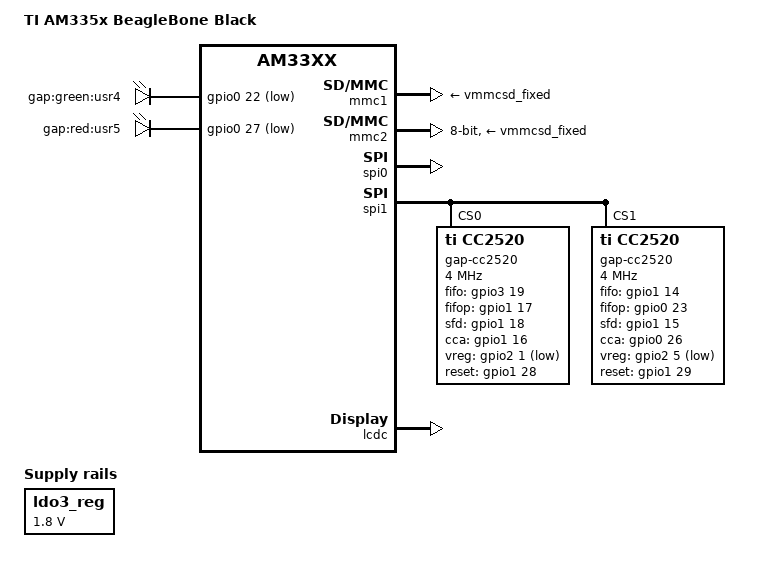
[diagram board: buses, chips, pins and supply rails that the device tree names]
/*
 * Copyright (C) 2012 Texas Instruments Incorporated - http://www.ti.com/
 *
 * This program is free software; you can redistribute it and/or modify
 * it under the terms of the GNU General Public License version 2 as
 * published by the Free Software Foundation.
 */
/dts-v1/;

#include "am33xx.dtsi"
#include "am335x-bone-common.dtsi"

/ {
	model = "TI AM335x BeagleBone Black";
	compatible = "ti,am335x-bone-black", "ti,am335x-bone", "ti,am33xx";
};

/* Max Core Speed */
#include "am335x-boneblack-1ghz.dtsi"
/* #include "am335x-boneblack-800mhz.dtsi" */

&ldo3_reg {
	regulator-min-microvolt = <1800000>;
	regulator-max-microvolt = <1800000>;
	regulator-always-on;
};

&mmc1 {
	vmmc-supply = <&vmmcsd_fixed>;
};

&mmc2 {
	vmmc-supply = <&vmmcsd_fixed>;
	pinctrl-names = "default";
	pinctrl-0 = <&emmc_pins>;
	bus-width = <8>;
	status = "okay";
};

&spi0 {
	status = "okay";

	pinctrl-names = "default";
	pinctrl-0 = <&gap_spi0_pins>;
};

&spi1 {
	status = "okay";

	pinctrl-names = "default";
	pinctrl-0 = <&gap_spi1_pins>;

	gap-cc2520@0 {
		compatible = "ti,cc2520";

		reg = <0>;
		spi-max-frequency = <4000000>;
		pinctrl-names = "default";
		pinctrl-0 = <&gap_cc2520_0_pins>;
		fifo-gpio  = <&gpio3 19 0>;
		fifop-gpio = <&gpio1 17 0>;
		sfd-gpio   = <&gpio1 18 0>;
		cca-gpio   = <&gpio1 16 0>;
		vreg-gpio  = <&gpio2 1  1>;
		reset-gpio = <&gpio1 28 0>;
	};

	gap-cc2520@1 {
		compatible = "ti,cc2520";

		reg = <1>;
		spi-max-frequency = <4000000>;
		amplified;
		pinctrl-names = "default";
		pinctrl-0 = <&gap_cc2520_1_pins>;
		fifo-gpio  = <&gpio1 14 0>;
		fifop-gpio = <&gpio0 23 0>;
		sfd-gpio   = <&gpio1 15 0>;
		cca-gpio   = <&gpio0 26 0>;
		vreg-gpio  = <&gpio2 5  1>;
		reset-gpio = <&gpio1 29 0>;
	};
};

&leds {
	pinctrl-1 = <&gap_leds_pins>;

	led@6 {
		label = "gap:green:usr4";
		gpios = <&gpio0 22 1>;
		linux,default-trigger = "none";
		default-state = "off";
	};
	led@7 {
		label = "gap:red:usr5";
		gpios = <&gpio0 27 1>;
		linux,default-trigger = "none";
		default-state = "off";
	};

};

&am33xx_pinmux {
	nxp_hdmi_bonelt_pins: nxp_hdmi_bonelt_pins {
		pinctrl-single,pins = <
			0x1b0 0x03      /* xdma_event_intr0, OMAP_MUX_MODE3 | AM33XX_PIN_OUTPUT */
			0xa0 0x08       /* lcd_data0.lcd_data0, OMAP_MUX_MODE0 | AM33XX_PIN_OUTPUT | AM33XX_PULL_DISA */
			0xa4 0x08       /* lcd_data1.lcd_data1, OMAP_MUX_MODE0 | AM33XX_PIN_OUTPUT | AM33XX_PULL_DISA */
			0xa8 0x08       /* lcd_data2.lcd_data2, OMAP_MUX_MODE0 | AM33XX_PIN_OUTPUT | AM33XX_PULL_DISA */
			0xac 0x08       /* lcd_data3.lcd_data3, OMAP_MUX_MODE0 | AM33XX_PIN_OUTPUT | AM33XX_PULL_DISA */
			0xb0 0x08       /* lcd_data4.lcd_data4, OMAP_MUX_MODE0 | AM33XX_PIN_OUTPUT | AM33XX_PULL_DISA */
			0xb4 0x08       /* lcd_data5.lcd_data5, OMAP_MUX_MODE0 | AM33XX_PIN_OUTPUT | AM33XX_PULL_DISA */
			0xb8 0x08       /* lcd_data6.lcd_data6, OMAP_MUX_MODE0 | AM33XX_PIN_OUTPUT | AM33XX_PULL_DISA */
			0xbc 0x08       /* lcd_data7.lcd_data7, OMAP_MUX_MODE0 | AM33XX_PIN_OUTPUT | AM33XX_PULL_DISA */
			0xc0 0x08       /* lcd_data8.lcd_data8, OMAP_MUX_MODE0 | AM33XX_PIN_OUTPUT | AM33XX_PULL_DISA */
			0xc4 0x08       /* lcd_data9.lcd_data9, OMAP_MUX_MODE0 | AM33XX_PIN_OUTPUT | AM33XX_PULL_DISA */
			0xc8 0x08       /* lcd_data10.lcd_data10, OMAP_MUX_MODE0 | AM33XX_PIN_OUTPUT | AM33XX_PULL_DISA */
			0xcc 0x08       /* lcd_data11.lcd_data11, OMAP_MUX_MODE0 | AM33XX_PIN_OUTPUT | AM33XX_PULL_DISA */
			0xd0 0x08       /* lcd_data12.lcd_data12, OMAP_MUX_MODE0 | AM33XX_PIN_OUTPUT | AM33XX_PULL_DISA */
			0xd4 0x08       /* lcd_data13.lcd_data13, OMAP_MUX_MODE0 | AM33XX_PIN_OUTPUT | AM33XX_PULL_DISA */
			0xd8 0x08       /* lcd_data14.lcd_data14, OMAP_MUX_MODE0 | AM33XX_PIN_OUTPUT | AM33XX_PULL_DISA */
			0xdc 0x08       /* lcd_data15.lcd_data15, OMAP_MUX_MODE0 | AM33XX_PIN_OUTPUT | AM33XX_PULL_DISA */
			0xe0 0x00       /* lcd_vsync.lcd_vsync, OMAP_MUX_MODE0 | AM33XX_PIN_OUTPUT */
			0xe4 0x00       /* lcd_hsync.lcd_hsync, OMAP_MUX_MODE0 | AM33XX_PIN_OUTPUT */
			0xe8 0x00       /* lcd_pclk.lcd_pclk, OMAP_MUX_MODE0 | AM33XX_PIN_OUTPUT */
			0xec 0x00       /* lcd_ac_bias_en.lcd_ac_bias_en, OMAP_MUX_MODE0 | AM33XX_PIN_OUTPUT */
		>;
	};
	nxp_hdmi_bonelt_off_pins: nxp_hdmi_bonelt_off_pins {
		pinctrl-single,pins = <
			0x1b0 0x03      /* xdma_event_intr0, OMAP_MUX_MODE3 | AM33XX_PIN_OUTPUT */
		>;
	};

	gap_cc2520_0_pins: gap_cc2520_0_pins {
		pinctrl-single,pins = <
			0x048 0x2F /* ehrpwm1a.gpio1_18, INPUT         | MODE7 */
			0x044 0x2F /* gpio1_17.gpio1_17, INPUT         | MODE7 */
			0x1a4 0x2F /* gpio3_19.gpio3_19, INPUT         | MODE7 */
			0x078 0x17 /* gpio1_28.gpio1_28, OUTPUT_PULLUP | MODE7 */
			0x040 0x2F /* gpio1_16.gpio1_16, INPUT         | MODE7 */
			0x08c 0x17 /* gpio2_1.gpio2_1,   OUTPUT_PULLUP | MODE7 */
		>;
	};

	gap_cc2520_1_pins: gap_cc2520_1_pins {
		pinctrl-single,pins = <
			0x03c 0x2F /* P8.15 gpio1_15.gpio1_15, INPUT         | MODE7 */
			0x024 0x2F /* P8.13 ehrpwm2b.gpio0_23, INPUT         | MODE7 */
			0x038 0x2F /* P8.16 gpio1_14.gpio1_14, INPUT         | MODE7 */
			0x07c 0x17 /* P8.26 gpio1_29.gpio1_29, OUTPUT_PULLUP | MODE7 */
			0x028 0x2F /* P8.14 gpio0_26.gpio0_26, INPUT         | MODE7 */
			0x09c 0x17 /* P8.09 gpio2_5.gpio2_5,   OUTPUT_PULLUP | MODE7 */
		>;
	};

	gap_leds_pins: gap_leds_pins {
		pinctrl-single,pins = <
			0x020 0x17  /* ehrpwm2a.gpio0_22, OUTPUT_PULLUP | MODE7 */
			0x02c 0x17  /* gpio0_27.gpio0_27, OUTPUT_PULLUP | MODE7 */
		>;
	};

	gap_spi0_pins: gap_spi0_pins {
		pinctrl-single,pins = <
			0x15c 0x10 /* i2c1_scl.spi0_cs0,   OUTPUT_PULLUP | MODE0 */
			0x158 0x10 /* i2c1_sda.spi0_d1,    OUTPUT_PULLUP | MODE0 */
			0x154 0x30 /* uart2_txd.spi0_d0,   INPUT_PULLUP  | MODE0 */
			0x150 0x30 /* uart2_rxd.spi0_sclk, INPUT_PULLUP  | MODE0 */
		>;
	};

	gap_spi1_pins: gap_spi1_pins {
		pinctrl-single,pins = <
			0x190 0x33      /* mcasp0_aclkx.spi1_sclk,     INPUT_PULLUP  | MODE3 */
			0x194 0x33      /* mcasp0_fsx.spi1_d0,         INPUT_PULLUP  | MODE3 */
			0x198 0x13      /* mcasp0_axr0.spi1_d1,        OUTPUT_PULLUP | MODE3 */
			0x19c 0x13      /* mcasp0_ahclkr.spi1_cs0,     OUTPUT_PULLUP | MODE3 */
			0x164 0x12      /* ecap0_in_pwm0_out.spi1_cs1, OUTPUT_PULLUP | MODE2 */
		>;
	};
};

&lcdc {
	status = "okay";
};

/ {
	hdmi {
		compatible = "ti,tilcdc,slave";
		i2c = <&i2c0>;
		pinctrl-names = "default", "off";
		pinctrl-0 = <&nxp_hdmi_bonelt_pins>;
		pinctrl-1 = <&nxp_hdmi_bonelt_off_pins>;
		status = "okay";
	};
};

&rtc {
	system-power-controller;
};
